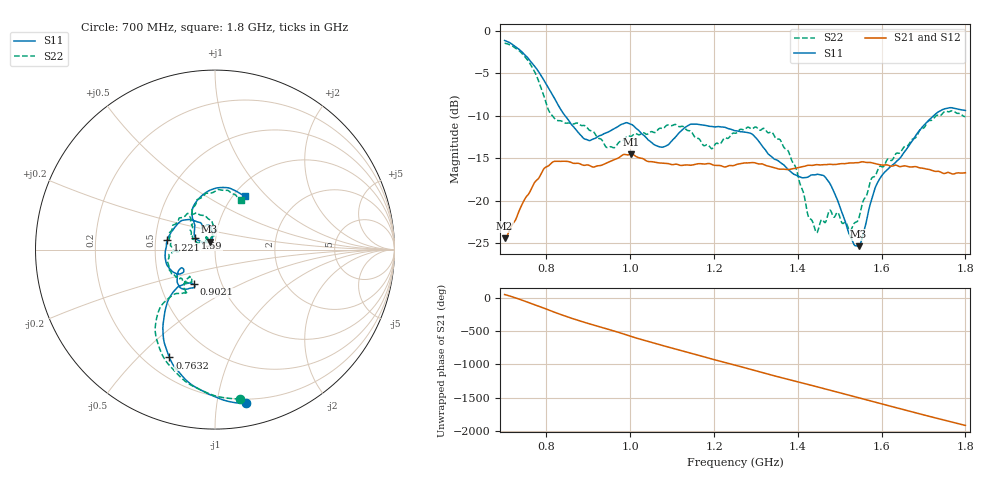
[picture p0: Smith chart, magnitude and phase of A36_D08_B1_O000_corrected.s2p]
! Created with skrf 1.9.0 (http://scikit-rf.org).
# Hz S RI R 50.0
!freq ReS11 ImS11 ReS21 ImS21 ReS12 ImS12 ReS22 ImS22
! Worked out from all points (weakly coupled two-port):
!   1601 points, 700 MHz to 1.8 GHz, reference 50 ohm
!   highest |S21| = -14.53 dB at 1.002 GHz (marker M1); lowest = -24.4 dB at 700 MHz (marker M2)
!   lowest |S11| = -25.3 dB at 1.545 GHz (marker M3), VSWR 1.11, Z = 46.8 + j4.18 ohm
!   |S11| at or under -10 dB: 844.2 MHz to 1.724 GHz (880.2 MHz wide, 68.5 % of centre)
!   |S22| runs from -23.8 to -1.5 dB; largest |S21 - S12| = 0.0036
!   S11 on the Smith chart (normalised r, x): 700 MHz: 0.17, -1.21; 763.2 MHz: 0.30, -0.62; 902.1 MHz: 0.74, -0.30; 1.221 GHz: 0.58, +0.07; 1.59 GHz: 0.80, +0.11; 1.8 GHz: 1.13, +0.75
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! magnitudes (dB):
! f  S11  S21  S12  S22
! 700 MHz  -1.2  -24.4  -24.2  -1.5
! 763.2 MHz  -3.7  -18.7  -18.7  -4.1
! 816.2 MHz  -7.7  -15.4  -15.5  -10.2
! 883.6 MHz  -12.4  -15.8  -15.7  -11.2
! 902.1 MHz  -12.9  -15.9  -15.8  -11.7
! 946.1 MHz  -12.0  -15.5  -15.5  -13.8
! 1.002 GHz  -11.0  -14.5  -14.6  -12.4
! 1.067 GHz  -13.6  -15.5  -15.5  -11.6
! 1.143 GHz  -11.0  -15.8  -15.8  -11.8
! 1.221 GHz  -11.3  -16.0  -16.0  -12.9
! 1.25 GHz  -11.8  -15.8  -15.8  -12.1
! 1.358 GHz  -15.5  -16.3  -16.3  -12.9
! 1.394 GHz  -17.0  -16.2  -16.2  -16.0
! 1.434 GHz  -17.0  -15.9  -15.8  -22.3
! 1.445 GHz  -16.9  -15.8  -15.8  -23.8
! 1.473 GHz  -17.8  -15.7  -15.7  -21.3
! 1.524 GHz  -24.1  -15.6  -15.6  -23.6
! 1.545 GHz  -25.3  -15.5  -15.5  -22.2
! 1.59 GHz  -17.9  -15.7  -15.7  -16.4
! 1.617 GHz  -16.2  -15.9  -15.8  -15.1
! 1.732 GHz  -9.7  -16.5  -16.6  -10.0
! 1.8 GHz  -9.4  -16.7  -16.7  -10.1
